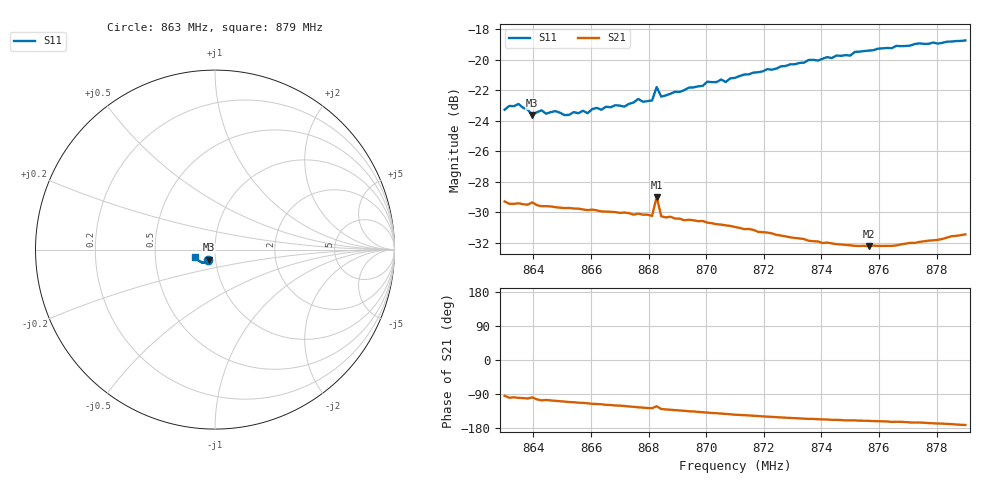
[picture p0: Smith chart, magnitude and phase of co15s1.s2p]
# HZ S RI R 50
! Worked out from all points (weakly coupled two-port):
!   101 points, 863 MHz to 879 MHz, reference 50 ohm
!   highest |S21| = -28.98 dB at 868.28 MHz (marker M1); lowest = -32.2 dB at 875.64 MHz (marker M2)
!   lowest |S11| = -23.6 dB at 863.96 MHz (marker M3), VSWR 1.14, Z = 46.3 - j5.17 ohm
!   |S11| at or under -10 dB: start of sweep to end of sweep
!   S12 and S22 are empty: the file has one direction only
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8.63e8  -0.0393 -0.0563  -0.00261 -0.0342  0 0  0 0
8.6348e8  -0.0457 -0.0552  -0.00581 -0.0333  0 0  0 0
8.6396e8  -0.0353 -0.0555  -0.00507 -0.0337  0 0  0 0
8.6428e8  -0.0398 -0.0555  -0.00955 -0.0317  0 0  0 0
8.6508e8  -0.0361 -0.0551  -0.011 -0.0307  0 0  0 0
8.6572e8  -0.036 -0.0578  -0.0127 -0.0297  0 0  0 0
8.6588e8  -0.0352 -0.0568  -0.0132 -0.0293  0 0  0 0
8.662e8  -0.0367 -0.0591  -0.0142 -0.0288  0 0  0 0
8.6716e8  -0.0346 -0.0612  -0.0164 -0.027  0 0  0 0
8.6764e8  -0.0377 -0.0642  -0.0179 -0.0257  0 0  0 0
8.6812e8  -0.0367 -0.0638  -0.0186 -0.0245  0 0  0 0
8.6828e8  -0.025 -0.0775  -0.0189 -0.0301  0 0  0 0
8.6844e8  -0.0378 -0.0657  -0.0195 -0.0237  0 0  0 0
8.6988e8  -0.0431 -0.0699  -0.022 -0.0198  0 0  0 0
8.7004e8  -0.0452 -0.0718  -0.022 -0.0193  0 0  0 0
8.7052e8  -0.0469 -0.0723  -0.0226 -0.018  0 0  0 0
8.7068e8  -0.0455 -0.0713  -0.0227 -0.0175  0 0  0 0
8.71e8  -0.0494 -0.0719  -0.023 -0.0165  0 0  0 0
8.7372e8  -0.0678 -0.0735  -0.0231 -0.0106  0 0  0 0
8.7564e8  -0.0851 -0.0653  -0.0231 -0.00815  0 0  0 0
8.7644e8  -0.0912 -0.06  -0.0235 -0.00703  0 0  0 0
8.79e8  -0.1092 -0.0385  -0.0265 -0.00397  0 0  0 0
